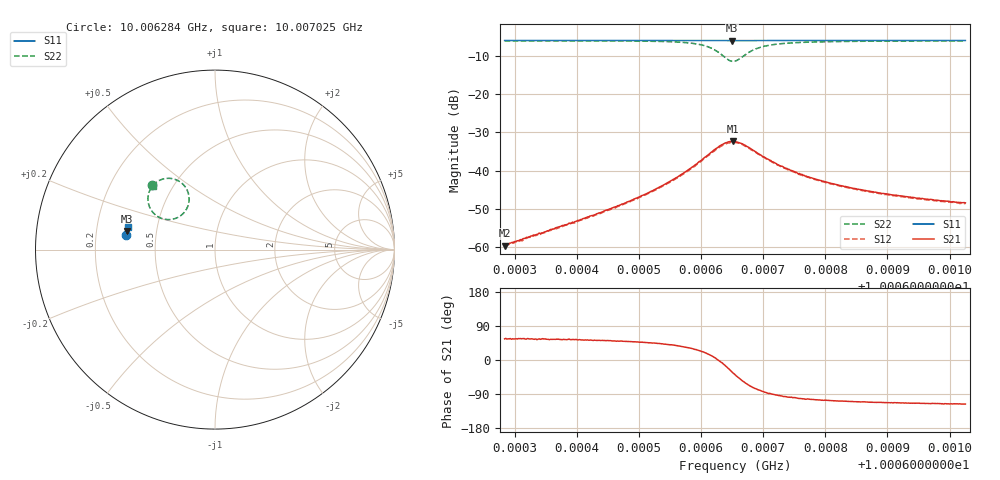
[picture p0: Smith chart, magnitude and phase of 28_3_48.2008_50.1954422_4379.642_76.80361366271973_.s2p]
#  HZ  S  RI  R  50.00
! Rohde & Schwarz Vector Network Analyzer
! Rohde-Schwarz,ZNB20-2Port,1311601062101988,3.16
! Created: UTC 3/20/2024, 11:37:15 AM
! freq[Hz]  re:S11  im:S11  re:S21  im:S21  re:S12  im:S12  re:S22  im:S22
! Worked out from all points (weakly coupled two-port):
!   401 points, 10.006284 GHz to 10.007025 GHz, reference 50 ohm
!   highest |S21| = -32.33 dB at 10.006651 GHz (marker M1); lowest = -59.6 dB at 10.006284 GHz (marker M2)
!   lowest |S11| = -6.0 dB at 10.006649 GHz (marker M3), VSWR 3.00, Z = 16.8 + j4.63 ohm
!   |S11| at or under -10 dB: nowhere
!   |S22| runs from -11.4 to -6.0 dB; largest |S21 - S12| = 0.0017
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1.00062836e10  -0.4956 0.0805  0.00059 0.000868  0.000537 0.000879  -0.3488 0.3581
1.00064079e10  -0.4944 0.0888  0.0014 0.00184  0.00127 0.00187  -0.3337 0.3712
1.00064821e10  -0.4937 0.0939  0.00258 0.00296  0.00237 0.00302  -0.3166 0.3823
1.00065321e10  -0.4929 0.0972  0.00438 0.00418  0.00408 0.00427  -0.2945 0.3917
1.00065729e10  -0.4921 0.0999  0.00781 0.00535  0.00732 0.00558  -0.2581 0.3971
1.00066045e10  -0.4912 0.102  0.0137 0.00522  0.013 0.00559  -0.2025 0.3822
1.00066193e10  -0.4906 0.1027  0.0179 0.00274  0.0173 0.00342  -0.1672 0.3515
1.00066323e10  -0.4898 0.1033  0.0215 -0.00224  0.0208 -0.00117  -0.1451 0.2982
1.00066434e10  -0.4896 0.1033  0.0221 -0.0087  0.0218 -0.00721  -0.1533 0.2368
1.0006649e10  -0.4895 0.1033  0.0207 -0.0121  0.021 -0.0106  -0.1708 0.2083
1.00066508e10  -0.4897 0.1033  0.0202 -0.0133  0.0203 -0.0116  -0.1785 0.1999
1.00066545e10  -0.4896 0.1033  0.0188 -0.015  0.019 -0.0135  -0.1961 0.1859
1.00066657e10  -0.4899 0.1036  0.0132 -0.0182  0.014 -0.017  -0.2548 0.1672
1.00066786e10  -0.4904 0.1042  0.00724 -0.0183  0.00817 -0.0174  -0.3109 0.1797
1.00067009e10  -0.4908 0.1058  0.00158 -0.0151  0.00232 -0.0148  -0.3574 0.2232
1.0006725e10  -0.4908 0.1076  -0.000832 -0.0118  -0.000199 -0.0117  -0.3716 0.2605
1.00067398e10  -0.4907 0.1087  -0.00146 -0.0103  -0.000844 -0.0102  -0.3735 0.2767
1.00067788e10  -0.4905 0.1115  -0.00191 -0.00778  -0.00157 -0.00767  -0.3714 0.3047
1.00068418e10  -0.4895 0.1156  -0.00198 -0.0056  -0.00169 -0.00561  -0.3641 0.3281
1.00069031e10  -0.4889 0.1196  -0.0019 -0.00452  -0.00162 -0.00452  -0.3575 0.341
1.00069791e10  -0.4881 0.1245  -0.00174 -0.00373  -0.00154 -0.00371  -0.3508 0.3515
1.00070255e10  -0.4872 0.1274  -0.00168 -0.0034  -0.00148 -0.00342  -0.3473 0.3567
